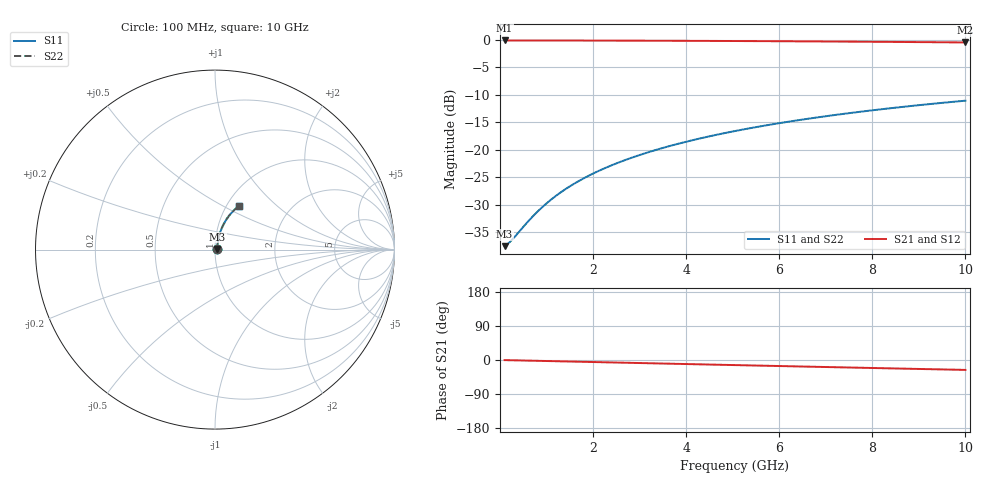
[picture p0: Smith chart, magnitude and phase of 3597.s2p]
# Hz S RI R 50.00
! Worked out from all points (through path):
!   100 points, 100 MHz to 10 GHz, reference 50 ohm
!   highest |S21| = -0.11 dB at 100 MHz (marker M1); lowest = -0.5 dB at 10 GHz (marker M2)
!   group delay of S21, straight-line fit = 7.27 ps
!   lowest |S11| = -37.6 dB at 100 MHz (marker M3), VSWR 1.03, Z = 51.3 + j0.298 ohm
!   |S11| at or under -10 dB: start of sweep to end of sweep
!   |S22| runs from -37.6 to -11.1 dB; largest |S21 - S12| = 0
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1e8  0.0129 0.0029  0.9871 -0.00462  0.9871 -0.00462  0.0129 0.0029
2e8  0.013 0.0058  0.987 -0.00923  0.987 -0.00923  0.013 0.0058
3e8  0.0132 0.0087  0.9868 -0.0138  0.9868 -0.0138  0.0132 0.0087
7e8  0.0139 0.0203  0.986 -0.0323  0.986 -0.0323  0.0139 0.0203
8e8  0.0141 0.0232  0.9858 -0.0369  0.9858 -0.0369  0.0141 0.0232
1e9  0.0146 0.029  0.9852 -0.0461  0.9852 -0.0461  0.0146 0.029
1.2e9  0.0153 0.0347  0.9845 -0.0553  0.9845 -0.0553  0.0153 0.0347
1.4e9  0.016 0.0405  0.9837 -0.0644  0.9837 -0.0644  0.016 0.0405
1.6e9  0.0169 0.0462  0.9827 -0.0736  0.9827 -0.0736  0.0169 0.0462
1.8e9  0.0178 0.0519  0.9817 -0.0827  0.9817 -0.0827  0.0178 0.0519
2.1e9  0.0195 0.0604  0.9799 -0.0964  0.9799 -0.0964  0.0195 0.0604
2.5e9  0.022 0.0717  0.9771 -0.1145  0.9771 -0.1145  0.022 0.0717
2.9e9  0.0249 0.0828  0.9738 -0.1325  0.9738 -0.1325  0.0249 0.0828
3.4e9  0.0292 0.0966  0.9691 -0.1549  0.9691 -0.1549  0.0292 0.0966
3.8e9  0.033 0.1074  0.9648 -0.1725  0.9648 -0.1725  0.033 0.1074
4.2e9  0.0372 0.118  0.9601 -0.1901  0.9601 -0.1901  0.0372 0.118
5.1e9  0.0481 0.1413  0.948 -0.2288  0.948 -0.2288  0.0481 0.1413
5.9e9  0.0592 0.161  0.9355 -0.2623  0.9355 -0.2623  0.0592 0.161
6.7e9  0.0717 0.1797  0.9215 -0.2948  0.9215 -0.2948  0.0717 0.1797
7.5e9  0.0854 0.1973  0.9061 -0.3263  0.9061 -0.3263  0.0854 0.1973
8.4e9  0.1021 0.2158  0.8872 -0.3604  0.8872 -0.3604  0.1021 0.2158
1e10  0.1348 0.2446  0.85 -0.4171  0.85 -0.4171  0.1348 0.2446
